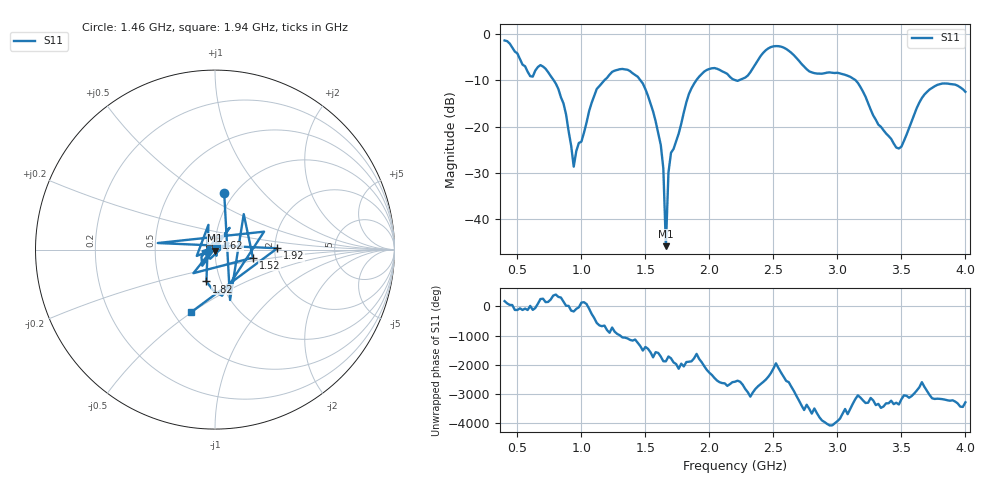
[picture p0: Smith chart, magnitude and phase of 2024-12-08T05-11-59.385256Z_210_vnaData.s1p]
!Created with skrf (http://scikit-rf.org).
# Hz S RI R 50.0
!freq ReS11 ImS11
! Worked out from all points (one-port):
!   181 points, 400 MHz to 4 GHz, reference 50 ohm
!   lowest |S11| = -45.8 dB at 1.66 GHz (marker M1), VSWR 1.01, Z = 50.1 - j0.505 ohm
!   |S11| at or under -10 dB: 784.1 MHz to 1.178 GHz (394.2 MHz wide, 40.2 % of centre); 1.462 GHz to 1.897 GHz (434.7 MHz wide, 25.9 % of centre); 3.143 GHz to end of sweep (the widest 3 of 4)
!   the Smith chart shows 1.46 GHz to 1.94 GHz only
!   S11 on the Smith chart (normalised r, x): 1.46 GHz: 0.90, +0.63; 1.52 GHz: 1.53, -0.14; 1.62 GHz: 1.01, +0.13; 1.82 GHz: 0.86, -0.31; 1.92 GHz: 2.06, +0.04; 1.94 GHz: 0.62, -0.50
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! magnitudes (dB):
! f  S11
! 400 MHz  -1.4
! 600 MHz  -9.1
! 720 MHz  -7.5
! 860 MHz  -15.0
! 940 MHz  -28.6
! 1.12 GHz  -11.8
! 1.3 GHz  -7.6
! 1.46 GHz  -9.9
! 1.52 GHz  -13.3
! 1.62 GHz  -23.9
! 1.64 GHz  -29.0
! 1.66 GHz  -45.8
! 1.68 GHz  -30.0
! 1.7 GHz  -25.6
! 1.76 GHz  -21.5
! 1.82 GHz  -14.7
! 1.92 GHz  -9.2
! 1.94 GHz  -8.6
! 2.04 GHz  -7.3
! 2.2 GHz  -9.9
! 2.48 GHz  -2.8
! 2.66 GHz  -4.5
! 2.8 GHz  -8.3
! 3.1 GHz  -9.2
! 3.46 GHz  -24.5
! 3.56 GHz  -20.3
! 3.74 GHz  -11.6
! 4 GHz  -12.5
